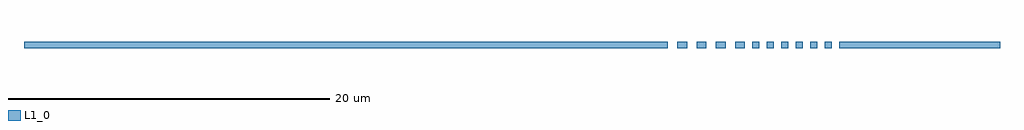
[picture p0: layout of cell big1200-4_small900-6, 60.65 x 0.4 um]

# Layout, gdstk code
import gdstk
lib = gdstk.Library(unit=1e-6, precision=1e-09)
def R(c, l, rs):  # rectangles x0, y0, x1, y1
    for r in rs: c.add(gdstk.rectangle(r[:2], r[2:], *l))
def A(c, l, x, y, w, h, nx, ny, dx, dy):  # array of equal rectangles
    R(c, l, [(x+i*dx, y+j*dy, x+i*dx+w, y+j*dy+h) for i in range(nx) for j in range(ny)])
L1_0 = (1, 0)

big1200_4_small900_6 = lib.new_cell('big1200-4_small900-6')
A(big1200_4_small900_6, L1_0, 0.6, 0, 0.6, 0.4, 4, 1, 1.2, 0)
A(big1200_4_small900_6, L1_0, 5.25, 0, 0.45, 0.4, 6, 1, 0.9, 0)
R(big1200_4_small900_6, L1_0, [(-40,0,0,0.4), (10.65,0,20.65,0.4)])

lib.write_gds('big1200-4_small900-6.gds')
